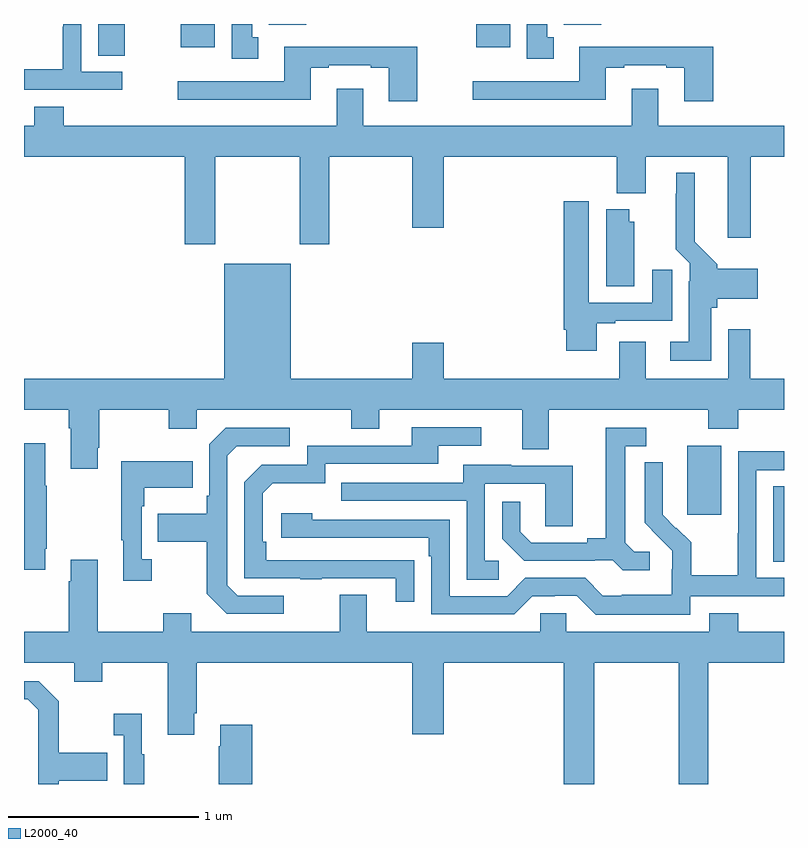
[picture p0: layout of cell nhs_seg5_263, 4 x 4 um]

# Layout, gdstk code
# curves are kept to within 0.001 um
import gdstk
lib = gdstk.Library(unit=1e-6, precision=1e-09)
def R(c, l, rs):  # rectangles x0, y0, x1, y1
    for r in rs: c.add(gdstk.rectangle(r[:2], r[2:], *l))
def P(c, l, *ps):  # polygons
    for p in ps: c.add(gdstk.Polygon(p, *l))
L2000_40 = (2000, 40)

nhs_seg5_263 = lib.new_cell('nhs_seg5_263')
R(nhs_seg5_263, L2000_40, [(130.943,847.969,131,848.366), (130.49,848.217,130.669,848.578), (127.391,850.633,127.53,850.799), (127.826,850.676,128.005,850.799), (129.38,850.676,129.559,850.799), (128.288,850.796,128.485,850.799), (129.842,850.796,130.039,850.799)])
P(nhs_seg5_263, L2000_40, [(129.787,850.73),(129.754,850.73),(129.754,850.799),(129.647,850.799),(129.647,850.617),(129.787,850.617)],
  [(128.233,850.73),(128.2,850.73),(128.2,850.799),(128.093,850.799),(128.093,850.617),(128.233,850.617)],
  [(127.516,850.548),(127.302,850.548),(127.302,850.799),(127.206,850.799),(127.206,850.784),(127.204,850.784),(127.204,850.561),(127,850.561),(127,850.452),(127.516,850.452)],
  [(129.069,850.678),(128.369,850.678),(128.369,850.497),(127.809,850.497),(127.809,850.4),(128.509,850.4),(128.509,850.569),(128.605,850.569),(128.605,850.581),(128.825,850.581),(128.825,850.569),(128.921,850.569),(128.921,850.392),(129.069,850.392)],
  [(130.628,850.678),(129.923,850.678),(129.923,850.497),(129.363,850.497),(129.363,850.4),(130.063,850.4),(130.063,850.569),(130.159,850.569),(130.159,850.581),(130.379,850.581),(130.379,850.569),(130.475,850.569),(130.475,850.392),(130.628,850.392)],
  [(127.055,850.363),(127.055,850.264),(127,850.264),(127,850.1),(127.847,850.1),(127.847,849.639),(128.007,849.639),(128.007,850.1),(128.452,850.1),(128.452,849.639),(128.607,849.639),(128.607,850.1),(129.044,850.1),(129.044,849.726),(129.208,849.726),(129.208,850.1),(130.121,850.1),(130.121,849.908),(130.273,849.908),(130.273,850.1),(130.703,850.1),(130.703,849.675),(130.826,849.675),(130.826,850.1),(131,850.1),(131,850.264),(130.339,850.264),(130.339,850.459),(130.199,850.459),(130.199,850.264),(128.785,850.264),(128.785,850.459),(128.645,850.459),(128.645,850.264),(127.208,850.264),(127.208,850.363)],
  [(130.618,849.306),(130.649,849.306),(130.649,849.353),(130.861,849.353),(130.861,849.511),(130.649,849.511),(130.649,849.534),(130.531,849.652),(130.531,850.015),(130.433,850.015),(130.433,849.905),(130.429,849.905),(130.429,849.614),(130.503,849.54),(130.503,849.446),(130.499,849.446),(130.499,849.127),(130.401,849.127),(130.401,849.026),(130.618,849.026)],
  [(130.015,849.225),(130.111,849.225),(130.111,849.237),(130.411,849.237),(130.411,849.505),(130.307,849.505),(130.307,849.333),(129.973,849.333),(129.973,849.865),(129.842,849.865),(129.842,849.19),(129.854,849.19),(129.854,849.078),(130.015,849.078)],
  [(130.213,849.759),(130.186,849.759),(130.186,849.823),(130.064,849.823),(130.064,849.418),(130.213,849.418)],
  [(130.707,849.193),(130.707,848.932),(130.273,848.932),(130.273,849.127),(130.133,849.127),(130.133,848.932),(129.208,848.932),(129.208,849.121),(129.044,849.121),(129.044,848.932),(128.404,848.932),(128.404,849.538),(128.054,849.538),(128.054,848.932),(127,848.932),(127,848.768),(127.235,848.768),(127.235,848.672),(127.247,848.672),(127.247,848.457),(127.387,848.457),(127.387,848.569),(127.395,848.569),(127.395,848.768),(127.762,848.768),(127.762,848.669),(127.908,848.669),(127.908,848.768),(128.722,848.768),(128.722,848.669),(128.869,848.669),(128.869,848.768),(129.623,848.768),(129.623,848.56),(129.763,848.56),(129.763,848.768),(130.6,848.768),(130.6,848.669),(130.76,848.669),(130.76,848.768),(131,848.768),(131,848.932),(130.823,848.932),(130.823,849.193)],
  [(129.053,847.976),(128.276,847.977),(128.276,848.074),(128.256,848.074),(128.256,848.328),(128.309,848.381),(128.586,848.381),(128.586,848.484),(129.181,848.484),(129.181,848.58),(129.406,848.58),(129.406,848.676),(129.041,848.676),(129.041,848.58),(128.49,848.58),(128.49,848.478),(128.25,848.478),(128.16,848.388),(128.16,847.881),(128.455,847.881),(128.455,847.876),(128.567,847.876),(128.567,847.881),(128.957,847.881),(128.957,847.758),(129.053,847.758)],
  [(130.294,848.022),(130.212,848.022),(130.165,848.069),(130.165,848.577),(130.276,848.577),(130.276,848.673),(130.061,848.673),(130.061,848.093),(129.965,848.093),(129.965,848.07),(129.67,848.07),(129.613,848.127),(129.613,848.284),(129.516,848.284),(129.516,848.09),(129.632,847.974),(130.004,847.974),(130.004,847.977),(130.098,847.977),(130.15,847.925),(130.294,847.925)],
  [(128.368,847.791),(128.124,847.791),(128.07,847.845),(128.07,848.526),(128.121,848.577),(128.398,848.577),(128.398,848.673),(128.061,848.673),(127.974,848.586),(127.974,848.317),(127.962,848.317),(127.962,848.221),(127.705,848.221),(127.705,848.074),(127.962,848.074),(127.962,847.801),(128.067,847.695),(128.368,847.695)],
  [(127.111,848.038),(127.119,848.038),(127.119,848.369),(127.111,848.369),(127.111,848.593),(127,848.593),(127,847.926),(127.111,847.926)],
  [(130.506,847.788),(131,847.788),(131,847.884),(130.854,847.884),(130.854,848.451),(131,848.451),(131,848.55),(130.758,848.55),(130.758,848.12),(130.756,848.12),(130.756,847.897),(130.511,847.897),(130.511,848.071),(130.434,848.148),(130.431,848.145),(130.361,848.216),(130.362,848.492),(130.266,848.492),(130.266,848.174),(130.412,848.026),(130.412,847.929),(130.41,847.929),(130.41,847.795),(130.147,847.795),(130.147,847.791),(130.047,847.791),(129.954,847.884),(129.639,847.884),(129.543,847.788),(129.24,847.788),(129.24,848.19),(128.516,848.19),(128.516,848.224),(128.355,848.224),(128.355,848.094),(129.131,848.094),(129.131,847.997),(129.144,847.997),(129.144,847.692),(129.579,847.692),(129.675,847.788),(129.794,847.788),(129.794,847.791),(129.909,847.791),(130.009,847.691),(130.506,847.691)],
  [(127.672,847.982),(127.62,847.982),(127.62,848.261),(127.633,848.261),(127.633,848.357),(127.889,848.357),(127.889,848.497),(127.512,848.497),(127.512,848.081),(127.523,848.081),(127.523,847.869),(127.672,847.869)],
  [(129.499,847.974),(129.426,847.974),(129.426,848.379),(129.744,848.379),(129.744,848.155),(129.889,848.155),(129.889,848.475),(129.565,848.475),(129.565,848.479),(129.311,848.479),(129.311,848.385),(128.671,848.385),(128.671,848.289),(129.33,848.289),(129.33,847.873),(129.499,847.873)],
  [(130.002,847.436),(130.447,847.436),(130.447,846.799),(130.602,846.799),(130.602,847.436),(131,847.436),(131,847.6),(130.76,847.6),(130.76,847.699),(130.607,847.699),(130.607,847.6),(129.855,847.6),(129.855,847.698),(129.717,847.698),(129.717,847.6),(128.803,847.6),(128.803,847.795),(128.663,847.795),(128.663,847.6),(127.879,847.6),(127.879,847.699),(127.732,847.699),(127.732,847.6),(127.387,847.6),(127.387,847.978),(127.247,847.978),(127.247,847.865),(127.235,847.865),(127.235,847.6),(127,847.6),(127,847.436),(127.265,847.436),(127.265,847.337),(127.413,847.337),(127.413,847.436),(127.757,847.436),(127.757,847.059),(127.897,847.059),(127.897,847.171),(127.91,847.171),(127.91,847.436),(129.044,847.436),(129.044,847.062),(129.208,847.062),(129.208,847.436),(129.842,847.436),(129.842,846.799),(130.002,846.799)],
  [(127.183,846.815),(127.439,846.815),(127.439,846.963),(127.183,846.963),(127.183,847.235),(127.077,847.341),(127,847.341),(127,847.245),(127.02,847.245),(127.074,847.191),(127.074,846.799),(127.183,846.799)],
  [(127.633,846.955),(127.621,846.955),(127.621,847.168),(127.473,847.168),(127.473,847.055),(127.524,847.055),(127.524,846.799),(127.633,846.799)],
  [(128.201,847.111),(128.033,847.111),(128.033,846.998),(128.026,846.998),(128.026,846.799),(128.201,846.799)])

lib.write_gds('nhs_seg5_263.gds')
